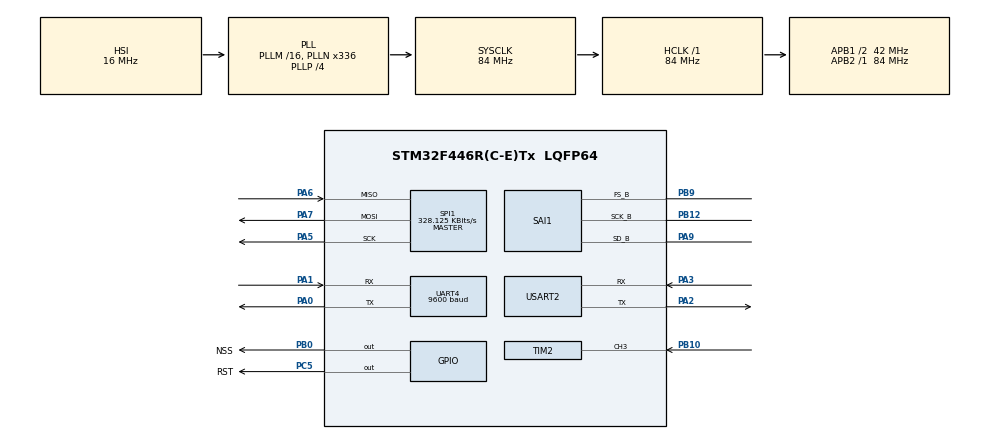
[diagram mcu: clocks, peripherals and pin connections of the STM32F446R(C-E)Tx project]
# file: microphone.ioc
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Dma.Request0=UART4_RX
Dma.Request1=SAI1_B
Dma.SAI1_B.1.Direction=DMA_PERIPH_TO_MEMORY
Dma.SAI1_B.1.FIFOMode=DMA_FIFOMODE_ENABLE
Dma.SAI1_B.1.FIFOThreshold=DMA_FIFO_THRESHOLD_FULL
Dma.SAI1_B.1.Instance=DMA2_Stream4
Dma.SAI1_B.1.MemBurst=DMA_MBURST_SINGLE
Dma.SAI1_B.1.MemDataAlignment=DMA_MDATAALIGN_WORD
Dma.SAI1_B.1.MemInc=DMA_MINC_ENABLE
Dma.SAI1_B.1.Mode=DMA_CIRCULAR
Dma.SAI1_B.1.PeriphBurst=DMA_PBURST_SINGLE
Dma.SAI1_B.1.PeriphDataAlignment=DMA_PDATAALIGN_WORD
Dma.SAI1_B.1.PeriphInc=DMA_PINC_DISABLE
Dma.SAI1_B.1.Priority=DMA_PRIORITY_LOW
Dma.UART4_RX.0.Direction=DMA_PERIPH_TO_MEMORY
Dma.UART4_RX.0.FIFOMode=DMA_FIFOMODE_DISABLE
Dma.UART4_RX.0.Instance=DMA1_Stream2
Dma.UART4_RX.0.MemDataAlignment=DMA_MDATAALIGN_BYTE
Dma.UART4_RX.0.MemInc=DMA_MINC_ENABLE
Dma.UART4_RX.0.Mode=DMA_CIRCULAR
Dma.UART4_RX.0.PeriphDataAlignment=DMA_PDATAALIGN_BYTE
Dma.UART4_RX.0.PeriphInc=DMA_PINC_DISABLE
Dma.UART4_RX.0.Priority=DMA_PRIORITY_MEDIUM
Mcu.Family=STM32F4
Mcu.Name=STM32F446R(C-E)Tx
Mcu.Package=LQFP64
NVIC.DMA1_Stream2_IRQn=true\:0\:0\:false\:false\:true\:false\:true\:true
NVIC.DMA2_Stream4_IRQn=true\:0\:0\:false\:false\:true\:false\:true\:true
NVIC.PriorityGroup=NVIC_PRIORITYGROUP_4
NVIC.TIM2_IRQn=true\:0\:0\:false\:false\:true\:true\:true\:true
NVIC.UART4_IRQn=true\:0\:0\:false\:false\:true\:true\:true\:true
PA0-WKUP.Mode=Asynchronous
PA0-WKUP.Signal=UART4_TX
PA1.Mode=Asynchronous
PA1.Signal=UART4_RX
PA13.Mode=Serial_Wire
PA13.Signal=SYS_JTMS-SWDIO
PA14.Mode=Serial_Wire
PA14.Signal=SYS_JTCK-SWCLK
PA2.Mode=Asynchronous
PA2.Signal=USART2_TX
PA3.Mode=Asynchronous
PA3.Signal=USART2_RX
PA5.Mode=Full_Duplex_Master
PA5.Signal=SPI1_SCK
PA6.Mode=Full_Duplex_Master
PA6.Signal=SPI1_MISO
PA7.Mode=Full_Duplex_Master
PA7.Signal=SPI1_MOSI
PA9.Mode=SAI_B_Master
PA9.Signal=SAI1_SD_B
PB0.GPIO_Label=NSS
PB0.Signal=GPIO_Output
PB10.Signal=S_TIM2_CH3
PB12.Mode=SAI_B_Master
PB12.Signal=SAI1_SCK_B
PB9.Mode=SAI_B_Master
PB9.Signal=SAI1_FS_B
PC14-OSC32_IN.Mode=LSE-External-Oscillator
PC14-OSC32_IN.Signal=RCC_OSC32_IN
PC15-OSC32_OUT.Mode=LSE-External-Oscillator
PC15-OSC32_OUT.Signal=RCC_OSC32_OUT
PC5.GPIO_Label=RST
PC5.Signal=GPIO_Output
PH0-OSC_IN.Mode=HSE-External-Oscillator
PH0-OSC_IN.Signal=RCC_OSC_IN
PH1-OSC_OUT.Mode=HSE-External-Oscillator
PH1-OSC_OUT.Signal=RCC_OSC_OUT
ProjectManager.HeapSize=0x200
ProjectManager.StackSize=0x400
ProjectManager.TargetToolchain=STM32CubeIDE
RCC.AHBFreq_Value=84000000
RCC.APB1CLKDivider=RCC_HCLK_DIV2
RCC.APB1Freq_Value=42000000
RCC.APB1TimFreq_Value=84000000
RCC.APB2Freq_Value=84000000
RCC.APB2TimFreq_Value=84000000
RCC.CortexFreq_Value=84000000
RCC.HCLKFreq_Value=84000000
RCC.HSE_VALUE=8000000
RCC.PLLN=336
RCC.PLLP=RCC_PLLP_DIV4
RCC.SYSCLKFreq_VALUE=84000000
RCC.SYSCLKSource=RCC_SYSCLKSOURCE_PLLCLK
RCC.USBFreq_Value=168000000
RCC.VCOOutputFreq_Value=336000000
SAI1.AudioFrequency-SAI_B_Master=SAI_AUDIO_FREQUENCY_44K
SAI1.AudioMode-SAI_B_Master=SAI_MODEMASTER_RX
SAI1.BasicDataSize-SAI_B_Master=SAI_PROTOCOL_DATASIZE_24BIT
SAI1.ErrorAudioFreq-SAI_B_Master=6.53 %
SAI1.InitProtocol-SAI_B_Master=Enable
SAI1.Instance-SAI_B_Master=SAI$Index_Block_B
SAI1.MClockEnable-SAI_B_Master=SAI_MASTERCLOCK_DISABLE
SAI1.RealAudioFreq-SAI_B_Master=46.875 KHz
SAI1.VirtualMode-SAI_B_Master=VM_MASTER
SAI1.VirtualProtocol-SAI_B_BASIC=VM_BASIC_PROTOCOL
SH.S_TIM2_CH3.0=TIM2_CH3,Input_Capture3_from_TI3
SPI1.BaudRatePrescaler=SPI_BAUDRATEPRESCALER_256
SPI1.CalculateBaudRate=328.125 KBits/s
SPI1.Direction=SPI_DIRECTION_2LINES
SPI1.Mode=SPI_MODE_MASTER
SPI1.VirtualType=VM_MASTER
TIM2.Channel-Input_Capture3_from_TI3=TIM_CHANNEL_3
UART4.BaudRate=9600
UART4.VirtualMode=Asynchronous
USART2.VirtualMode=VM_ASYNC
VP_SAI1_VP_$IpInstance_SAIB_SAI_BASIC.Mode=SAI_B_BASIC
board=custom

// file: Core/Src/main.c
/* USER CODE BEGIN Header */
/**
  ******************************************************************************
  * @file           : main.c
  * @brief          : Main program body
  ******************************************************************************
  * @attention
  *
  * Copyright (c) 2022 STMicroelectronics.
  * All rights reserved.
  *
  * This software is licensed under terms that can be found in the LICENSE file
  * in the root directory of this software component.
  * If no LICENSE file comes with this software, it is provided AS-IS.
  *
  ******************************************************************************
  */
/* USER CODE END Header */
#include "main.h"

/* USER CODE BEGIN Includes */
#include <stdio.h>
#include <stdlib.h>
#include <stdbool.h>
#include "string.h"
#include "lora_sx1276.h"

/* USER CODE END Includes */

/* USER CODE BEGIN PTD */
#define CLAP_THRESHOLD 3.0f
#define CLAP_DURATION 200
#define MIC_SAMPLE_FREQUENCY 44000
#define MIC_SAMPLES_PER_MS (MIC_SAMPLE_FREQUENCY/1000)  // == 48
#define MIC_NUM_CHANNELS 1
#define MIC_MS_PER_PACKET 20
#define MIC_SAMPLES_PER_PACKET (MIC_SAMPLES_PER_MS * MIC_MS_PER_PACKET) // == 960
#define MOVING_AVG_THRESHOLD CLAP_THRESHOLD
#define MOVING_AVG_LEN CLAP_DURATION
#define SEND_LEN 2550
#define NODE 1

#if (NODE == 1)
#define NODE_DELAY 0
#elif (NODE == 2)
#define NODE_DELAY 100000000
#elif (NODE == 3)
#define NODE_DELAY 200000000
#endif

/* USER CODE END PTD */

SAI_HandleTypeDef hsai_BlockB1;
DMA_HandleTypeDef hdma_sai1_b;

SPI_HandleTypeDef hspi1;

TIM_HandleTypeDef htim2;

UART_HandleTypeDef huart4;
UART_HandleTypeDef huart2;
DMA_HandleTypeDef hdma_uart4_rx;

/* USER CODE BEGIN PV */
volatile int32_t *_sampleBuffer[MIC_SAMPLES_PER_PACKET * 2];
int8_t _sendBuffer[MIC_SAMPLES_PER_PACKET];
int8_t circular_buf_mov[MOVING_AVG_LEN];
uint32_t head_mov;
uint32_t tail_mov;

int8_t circular_buf_full[SEND_LEN];
uint32_t head_full;
uint32_t tail_full;
int64_t moving_sum;
float moving_avg;
bool _running;
uint16_t counter;
int done;
uint32_t devID = NODE;
uint32_t endPadding = 0xABABABAB;
lora_sx1276 lora;
uint8_t iterfacing_success[] = "Interfacing SUCCESS";
uint8_t iterfacing_failed[] = "Interfacing FAILED";
uint8_t transmission_success[] = "Transmission SUCCESS";
uint8_t transmission_failed[] = "Transmission FAILED";

/* USER CODE END PV */

void SystemClock_Config(void);
static void MX_GPIO_Init(void);
static void MX_SPI1_Init(void);
static void MX_DMA_Init(void);
static void MX_UART4_Init(void);
static void MX_USART2_UART_Init(void);
static void MX_TIM2_Init(void);
static void MX_SAI1_Init(void);

/* USER CODE BEGIN 0 */
int32_t timerVal;

void HAL_TIM_IC_CaptureCallback(TIM_HandleTypeDef *htim) {
	__HAL_TIM_SET_COUNTER(htim,0);
}
/* USER CODE END 0 */

int main(void)
{
  /* USER CODE BEGIN 1 */
  _running = false;
  head_mov = 0;
  tail_mov = 1;
  head_full = 0;
  tail_full = 1;
  moving_sum = 0;
  moving_avg = 0;
  counter = 0;
  done = 0;
  for(int i = 0; i < (MIC_SAMPLES_PER_PACKET*4); i++){
	  circular_buf_mov[i] = 0;
  }
  for(int i = 0; i < (MIC_SAMPLES_PER_PACKET*16); i++){
	  circular_buf_full[i] = 0;
  }
  for(int i = 0; i < (MIC_SAMPLES_PER_PACKET * 2); i++){
	  _sampleBuffer[i] = 0;
  }

  /* USER CODE END 1 */

  /* MCU Configuration--------------------------------------------------------*/

  /* Reset of all peripherals, Initializes the Flash interface and the Systick. */
  HAL_Init();

  /* Configure the system clock */
  SystemClock_Config();

  /* Initialize all configured peripherals */
  MX_GPIO_Init();
  MX_SPI1_Init();
  MX_DMA_Init();
  MX_UART4_Init();
  MX_USART2_UART_Init();
  MX_TIM2_Init();
  MX_SAI1_Init();
  /* USER CODE BEGIN 2 */
  HAL_TIM_IC_Start_IT(&htim2, TIM_CHANNEL_3);

  HAL_GPIO_WritePin(RST_GPIO_Port, RST_Pin, GPIO_PIN_RESET);
  HAL_Delay(100);
  HAL_GPIO_WritePin(RST_GPIO_Port, RST_Pin, GPIO_PIN_SET);

  uint8_t res = lora_init(&lora, &hspi1, NSS_GPIO_Port, NSS_Pin, LORA_BASE_FREQUENCY_US);
    if (res != LORA_OK) {
    	HAL_UART_Transmit(&huart2, iterfacing_failed, sizeof(iterfacing_failed), 1000);
    }

    // Receive buffer
    uint8_t buffer[255];
    // Put LoRa modem into continuous receive mode
    lora_mode_receive_continuous(&lora);
    // Wait for packet up to 4 sec

    while(1){
		uint8_t len = lora_receive_packet_blocking(&lora, buffer, sizeof(buffer), 4000, &res);
		if (res == LORA_OK) {
			HAL_UART_Transmit(&huart2, buffer, len, 1000);
		}
    }

  /* USER CODE END 2 */

  /* Infinite loop */
  while (1)
  {

  }
}

void SystemClock_Config(void)
{
  RCC_OscInitTypeDef RCC_OscInitStruct = {0};
  RCC_ClkInitTypeDef RCC_ClkInitStruct = {0};

  /** Configure the main internal regulator output voltage
  */
  __HAL_RCC_PWR_CLK_ENABLE();
  __HAL_PWR_VOLTAGESCALING_CONFIG(PWR_REGULATOR_VOLTAGE_SCALE3);
  /** Initializes the RCC Oscillators according to the specified parameters
  * in the RCC_OscInitTypeDef structure.
  */
  RCC_OscInitStruct.OscillatorType = RCC_OSCILLATORTYPE_HSI;
  RCC_OscInitStruct.HSIState = RCC_HSI_ON;
  RCC_OscInitStruct.HSICalibrationValue = RCC_HSICALIBRATION_DEFAULT;
  RCC_OscInitStruct.PLL.PLLState = RCC_PLL_ON;
  RCC_OscInitStruct.PLL.PLLSource = RCC_PLLSOURCE_HSI;
  RCC_OscInitStruct.PLL.PLLM = 16;
  RCC_OscInitStruct.PLL.PLLN = 336;
  RCC_OscInitStruct.PLL.PLLP = RCC_PLLP_DIV4;
  RCC_OscInitStruct.PLL.PLLQ = 2;
  RCC_OscInitStruct.PLL.PLLR = 2;
  if (HAL_RCC_OscConfig(&RCC_OscInitStruct) != HAL_OK)
  {
    Error_Handler();
  }
  /** Initializes the CPU, AHB and APB buses clocks
  */
  RCC_ClkInitStruct.ClockType = RCC_CLOCKTYPE_HCLK|RCC_CLOCKTYPE_SYSCLK
                              |RCC_CLOCKTYPE_PCLK1|RCC_CLOCKTYPE_PCLK2;
  RCC_ClkInitStruct.SYSCLKSource = RCC_SYSCLKSOURCE_PLLCLK;
  RCC_ClkInitStruct.AHBCLKDivider = RCC_SYSCLK_DIV1;
  RCC_ClkInitStruct.APB1CLKDivider = RCC_HCLK_DIV2;
  RCC_ClkInitStruct.APB2CLKDivider = RCC_HCLK_DIV1;

  if (HAL_RCC_ClockConfig(&RCC_ClkInitStruct, FLASH_LATENCY_2) != HAL_OK)
  {
    Error_Handler();
  }
}

static void MX_SAI1_Init(void)
{

  hsai_BlockB1.Instance = SAI1_Block_B;
  hsai_BlockB1.Init.AudioMode = SAI_MODEMASTER_RX;
  hsai_BlockB1.Init.Synchro = SAI_ASYNCHRONOUS;
  hsai_BlockB1.Init.OutputDrive = SAI_OUTPUTDRIVE_DISABLE;
  hsai_BlockB1.Init.NoDivider = SAI_MASTERDIVIDER_ENABLE;
  hsai_BlockB1.Init.FIFOThreshold = SAI_FIFOTHRESHOLD_EMPTY;
  hsai_BlockB1.Init.ClockSource = SAI_CLKSOURCE_NA;
  hsai_BlockB1.Init.AudioFrequency = SAI_AUDIO_FREQUENCY_44K;
  hsai_BlockB1.Init.SynchroExt = SAI_SYNCEXT_DISABLE;
  hsai_BlockB1.Init.MonoStereoMode = SAI_STEREOMODE;
  hsai_BlockB1.Init.CompandingMode = SAI_NOCOMPANDING;
  if (HAL_SAI_InitProtocol(&hsai_BlockB1, SAI_I2S_STANDARD, SAI_PROTOCOL_DATASIZE_24BIT, 2) != HAL_OK)
  {
    Error_Handler();
  }
  /* USER CODE BEGIN SAI1_Init 2 */
  if ((HAL_SAI_Receive_DMA(&hsai_BlockB1, (uint8_t*) _sampleBuffer, MIC_SAMPLES_PER_PACKET * 2)) == HAL_OK) {
	  HAL_Delay(1000);
	  _running = true;
  }
  /* USER CODE END SAI1_Init 2 */

}

static void MX_SPI1_Init(void)
{

  /* SPI1 parameter configuration*/
  hspi1.Instance = SPI1;
  hspi1.Init.Mode = SPI_MODE_MASTER;
  hspi1.Init.Direction = SPI_DIRECTION_2LINES;
  hspi1.Init.DataSize = SPI_DATASIZE_8BIT;
  hspi1.Init.CLKPolarity = SPI_POLARITY_LOW;
  hspi1.Init.CLKPhase = SPI_PHASE_1EDGE;
  hspi1.Init.NSS = SPI_NSS_SOFT;
  hspi1.Init.BaudRatePrescaler = SPI_BAUDRATEPRESCALER_256;
  hspi1.Init.FirstBit = SPI_FIRSTBIT_MSB;
  hspi1.Init.TIMode = SPI_TIMODE_DISABLE;
  hspi1.Init.CRCCalculation = SPI_CRCCALCULATION_DISABLE;
  hspi1.Init.CRCPolynomial = 10;
  if (HAL_SPI_Init(&hspi1) != HAL_OK)
  {
    Error_Handler();
  }

}

static void MX_TIM2_Init(void)
{

  TIM_MasterConfigTypeDef sMasterConfig = {0};
  TIM_IC_InitTypeDef sConfigIC = {0};

  htim2.Instance = TIM2;
  htim2.Init.Prescaler = 0;
  htim2.Init.CounterMode = TIM_COUNTERMODE_UP;
  htim2.Init.Period = 4294967295;
  htim2.Init.ClockDivision = TIM_CLOCKDIVISION_DIV1;
  htim2.Init.AutoReloadPreload = TIM_AUTORELOAD_PRELOAD_DISABLE;
  if (HAL_TIM_IC_Init(&htim2) != HAL_OK)
  {
    Error_Handler();
  }
  sMasterConfig.MasterOutputTrigger = TIM_TRGO_RESET;
  sMasterConfig.MasterSlaveMode = TIM_MASTERSLAVEMODE_DISABLE;
  if (HAL_TIMEx_MasterConfigSynchronization(&htim2, &sMasterConfig) != HAL_OK)
  {
    Error_Handler();
  }
  sConfigIC.ICPolarity = TIM_INPUTCHANNELPOLARITY_RISING;
  sConfigIC.ICSelection = TIM_ICSELECTION_DIRECTTI;
  sConfigIC.ICPrescaler = TIM_ICPSC_DIV1;
  sConfigIC.ICFilter = 0;
  if (HAL_TIM_IC_ConfigChannel(&htim2, &sConfigIC, TIM_CHANNEL_3) != HAL_OK)
  {
    Error_Handler();
  }

}

static void MX_UART4_Init(void)
{

  huart4.Instance = UART4;
  huart4.Init.BaudRate = 9600;
  huart4.Init.WordLength = UART_WORDLENGTH_8B;
  huart4.Init.StopBits = UART_STOPBITS_1;
  huart4.Init.Parity = UART_PARITY_NONE;
  huart4.Init.Mode = UART_MODE_TX_RX;
  huart4.Init.HwFlowCtl = UART_HWCONTROL_NONE;
  huart4.Init.OverSampling = UART_OVERSAMPLING_16;
  if (HAL_UART_Init(&huart4) != HAL_OK)
  {
    Error_Handler();
  }

}

static void MX_USART2_UART_Init(void)
{

  huart2.Instance = USART2;
  huart2.Init.BaudRate = 115200;
  huart2.Init.WordLength = UART_WORDLENGTH_8B;
  huart2.Init.StopBits = UART_STOPBITS_1;
  huart2.Init.Parity = UART_PARITY_NONE;
  huart2.Init.Mode = UART_MODE_TX_RX;
  huart2.Init.HwFlowCtl = UART_HWCONTROL_NONE;
  huart2.Init.OverSampling = UART_OVERSAMPLING_16;
  if (HAL_UART_Init(&huart2) != HAL_OK)
  {
    Error_Handler();
  }

}

static void MX_DMA_Init(void)
{

  /* DMA controller clock enable */
  __HAL_RCC_DMA1_CLK_ENABLE();
  __HAL_RCC_DMA2_CLK_ENABLE();

  /* DMA interrupt init */
  /* DMA1_Stream2_IRQn interrupt configuration */
  HAL_NVIC_SetPriority(DMA1_Stream2_IRQn, 0, 0);
  HAL_NVIC_EnableIRQ(DMA1_Stream2_IRQn);
  /* DMA2_Stream4_IRQn interrupt configuration */
  HAL_NVIC_SetPriority(DMA2_Stream4_IRQn, 0, 0);
  HAL_NVIC_EnableIRQ(DMA2_Stream4_IRQn);

}

static void MX_GPIO_Init(void)
{
  GPIO_InitTypeDef GPIO_InitStruct = {0};

  /* GPIO Ports Clock Enable */
  __HAL_RCC_GPIOC_CLK_ENABLE();
  __HAL_RCC_GPIOH_CLK_ENABLE();
  __HAL_RCC_GPIOA_CLK_ENABLE();
  __HAL_RCC_GPIOB_CLK_ENABLE();

  /*Configure GPIO pin Output Level */
  HAL_GPIO_WritePin(RST_GPIO_Port, RST_Pin, GPIO_PIN_RESET);

  /*Configure GPIO pin Output Level */
  HAL_GPIO_WritePin(NSS_GPIO_Port, NSS_Pin, GPIO_PIN_RESET);

  /*Configure GPIO pin : RST_Pin */
  GPIO_InitStruct.Pin = RST_Pin;
  GPIO_InitStruct.Mode = GPIO_MODE_OUTPUT_PP;
  GPIO_InitStruct.Pull = GPIO_NOPULL;
  GPIO_InitStruct.Speed = GPIO_SPEED_FREQ_LOW;
  HAL_GPIO_Init(RST_GPIO_Port, &GPIO_InitStruct);

  /*Configure GPIO pin : NSS_Pin */
  GPIO_InitStruct.Pin = NSS_Pin;
  GPIO_InitStruct.Mode = GPIO_MODE_OUTPUT_PP;
  GPIO_InitStruct.Pull = GPIO_NOPULL;
  GPIO_InitStruct.Speed = GPIO_SPEED_FREQ_LOW;
  HAL_GPIO_Init(NSS_GPIO_Port, &GPIO_InitStruct);

}

/* USER CODE BEGIN 4 */
void HAL_SAI_RxHalfCpltCallback(SAI_HandleTypeDef *hsai) {
	sendData(_sampleBuffer, _sendBuffer);
}

void HAL_SAI_RxCpltCallback(SAI_HandleTypeDef *hsai) {
	sendData(&_sampleBuffer[MIC_SAMPLES_PER_PACKET], &_sendBuffer[MIC_SAMPLES_PER_PACKET / 2]);
}

void sendData(volatile int32_t *data_in, int8_t *data_out) {

  if (_running) {

      for (uint16_t i = 0; i < MIC_SAMPLES_PER_PACKET / 2; i++) {

        int8_t sample = ((data_in[0]>>16) & 0xff);
        moving_sum += abs(sample);
        moving_sum -= abs(circular_buf_mov[tail_mov]);
    	circular_buf_mov[tail_mov] = sample;
    	circular_buf_full[tail_full] = sample;
    	moving_avg = ((float) moving_sum)/(MOVING_AVG_LEN);

    	if ((counter > 0) && (!done)){
    		counter++;
    		if (counter == (SEND_LEN-100)){
    			// timerVal = TIM2->CNT;
    			/*
    			if ((HAL_UART_Transmit(&huart2, (uint8_t*)&timerVal, 4, 70) != HAL_OK)){
    				Error_Handler();
    			}
    			uint32_t endflag = 0xCDCDCDCD;
    			if ((HAL_UART_Transmit(&huart2, (uint8_t*)&endflag, 4, 70) != HAL_OK)){
    			    				Error_Handler();
    			}
    			if ((HAL_UART_Transmit(&huart2, circular_buf_full + tail_full, (SEND_LEN)-tail_full, HAL_MAX_DELAY)) != HAL_OK){
    				Error_Handler();
    			}
    			if ((HAL_UART_Transmit(&huart2, circular_buf_full, tail_full, HAL_MAX_DELAY)) != HAL_OK){
    				Error_Handler();
    			}
    			*/

    			for(int delay = 0; delay < NODE_DELAY; delay++); // non-blocking delay used to offset the transmissions of each node to prevent garbled transmissions

    			uint8_t metaData[12];
    			memcpy(metaData, &timerVal, 4);
    			memcpy(metaData+4, &devID, 4);
    			memcpy(metaData+8, &endPadding, 4);

    			if ((HAL_UART_Transmit(&huart2, metaData, 12, HAL_MAX_DELAY)) != HAL_OK){
    			    				Error_Handler();
    			}

    			if ((HAL_UART_Transmit(&huart2, circular_buf_full + tail_full, (SEND_LEN)-tail_full, HAL_MAX_DELAY)) != HAL_OK){
    				Error_Handler();
    			}
    			if ((HAL_UART_Transmit(&huart2, circular_buf_full, tail_full, HAL_MAX_DELAY)) != HAL_OK){
    				Error_Handler();
    			}

    			/*

    			uint8_t packet_res = lora_send_packet(&lora, metaData, 12);

    			if (packet_res != LORA_OK) {
    				HAL_UART_Transmit(&huart2, &packet_res, sizeof(packet_res), 1000);
    			}
    			else {
    				HAL_UART_Transmit(&huart2, transmission_success, sizeof(transmission_success), 1000);
    			}

    			while(lora_is_transmitting(&lora)); // non-blocking delay
    			// for(int delay = 0; delay < 5000000; delay++); // non-blocking delay

    			uint8_t sendBuf[SEND_LEN];
    			memcpy(sendBuf, circular_buf_full+tail_full, (SEND_LEN)-tail_full);
    			memcpy(sendBuf+(SEND_LEN)-tail_full, circular_buf_full, tail_full);

    			for(int send_loop_cnt = 0; send_loop_cnt < 10; send_loop_cnt++){
    				packet_res = lora_send_packet(&lora, sendBuf+(255*send_loop_cnt), 255);
    				if (packet_res != LORA_OK) {
    					HAL_UART_Transmit(&huart2, &packet_res, sizeof(packet_res), 1000);
    				}
    				else {
    					HAL_UART_Transmit(&huart2, transmission_success, sizeof(transmission_success), 1000);
    				}
    				while(lora_is_transmitting(&lora)); // non-blocking delay
    				// for(int delay = 0; delay < 5000000; delay++); // non-blocking delay
    			}

    			*/

    			done = 1;
    		}
    	}

    	if ((moving_avg >= MOVING_AVG_THRESHOLD) && (counter == 0)){
    		counter += 1;
    		done = 0;
			timerVal = TIM2->CNT;
			/*
			if ((HAL_UART_Transmit(&huart2, (uint8_t*)&timerVal, 4, 70) != HAL_OK)){
				Error_Handler();
			}
			uint32_t endflag = 0xABABABAB;
			if ((HAL_UART_Transmit(&huart2, (uint8_t*)&endflag, 4, 70) != HAL_OK)){
			    				Error_Handler();
			}
			*/
    	}
        tail_mov = (tail_mov + 1) % (MOVING_AVG_LEN);
        head_mov = (head_mov + 1) % (MOVING_AVG_LEN);

        tail_full = (tail_full + 1) % (SEND_LEN);
        head_full = (head_full + 1) % (SEND_LEN);

        data_in += 2;
      }

  }
}
/* USER CODE END 4 */

void Error_Handler(void)
{
  __disable_irq();
  while (1)
  {
  }
}
